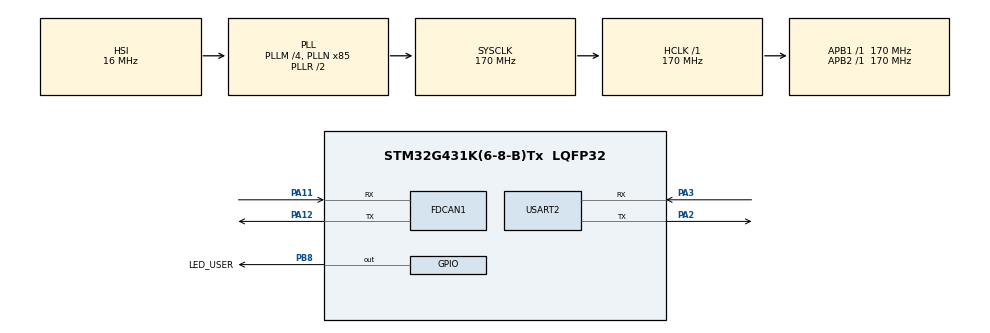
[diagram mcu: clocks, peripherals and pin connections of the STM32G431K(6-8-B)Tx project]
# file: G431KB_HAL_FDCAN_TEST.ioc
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FDCAN1.AutoRetransmission=ENABLE
FDCAN1.CalculateBaudRateNominal=250000
FDCAN1.CalculateTimeBitNominal=4000
FDCAN1.CalculateTimeQuantumNominal=100.0
FDCAN1.FrameFormat=FDCAN_FRAME_CLASSIC
FDCAN1.NominalPrescaler=17
FDCAN1.NominalSyncJumpWidth=5
FDCAN1.NominalTimeSeg1=34
FDCAN1.NominalTimeSeg2=5
Mcu.Family=STM32G4
Mcu.Name=STM32G431K(6-8-B)Tx
Mcu.Package=LQFP32
NVIC.PriorityGroup=NVIC_PRIORITYGROUP_4
PA11.Mode=FDCAN_Activate
PA11.Signal=FDCAN1_RX
PA12.Mode=FDCAN_Activate
PA12.Signal=FDCAN1_TX
PA2.Mode=Asynchronous
PA2.Signal=USART2_TX
PA3.Mode=Asynchronous
PA3.Signal=USART2_RX
PB8-BOOT0.GPIO_Label=LED_USER
PB8-BOOT0.Signal=GPIO_Output
ProjectManager.HeapSize=0x200
ProjectManager.StackSize=0x400
ProjectManager.TargetToolchain=STM32CubeIDE
RCC.ADC12Freq_Value=170000000
RCC.AHBFreq_Value=170000000
RCC.APB1Freq_Value=170000000
RCC.APB1TimFreq_Value=170000000
RCC.APB2Freq_Value=170000000
RCC.APB2TimFreq_Value=170000000
RCC.CortexFreq_Value=170000000
RCC.EXTERNAL_CLOCK_VALUE=12288000
RCC.HCLKFreq_Value=170000000
RCC.HSE_VALUE=8000000
RCC.HSI48_VALUE=48000000
RCC.HSI_VALUE=16000000
RCC.LSE_VALUE=32768
RCC.PLLM=RCC_PLLM_DIV4
RCC.PLLN=85
RCC.SYSCLKFreq_VALUE=170000000
RCC.SYSCLKSource=RCC_SYSCLKSOURCE_PLLCLK
RCC.USBFreq_Value=170000000
RCC.VCOOutputFreq_Value=340000000
USART2.VirtualMode-Asynchronous=VM_ASYNC
VP_SYS_VS_DBSignals.Mode=DisableDeadBatterySignals
board=NUCLEO-G431KB

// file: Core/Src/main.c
/* USER CODE BEGIN Header */
/**
  ******************************************************************************
  * @file           : main.c
  * @brief          : Main program body
  ******************************************************************************
  * @attention
  *
  * Copyright (c) 2026 STMicroelectronics.
  * All rights reserved.
  *
  * This software is licensed under terms that can be found in the LICENSE file
  * in the root directory of this software component.
  * If no LICENSE file comes with this software, it is provided AS-IS.
  *
  ******************************************************************************
  */
/* USER CODE END Header */
#include "main.h"

/* USER CODE BEGIN Includes */
#include <opencrank/j1939.h>
#include <opencrank/machine_ctrl.h>
/* USER CODE END Includes */

FDCAN_HandleTypeDef hfdcan1;

UART_HandleTypeDef huart2;

/* USER CODE BEGIN PV */
#define MC_PERIOD_MS 10U   /* TSC1 and pump command every 10 ms */
static McCtx mc;
static uint32_t tx_dropped;
/* USER CODE END PV */

void SystemClock_Config(void);
static void MX_GPIO_Init(void);
static void MX_FDCAN1_Init(void);
static void MX_USART2_UART_Init(void);

/* USER CODE BEGIN 0 */
static void can_poll_rx(uint32_t now_ms)
 {
     FDCAN_RxHeaderTypeDef rx;
     uint8_t d[8];

     /* Drain the FIFO: one frame per loop would lose frames at 100 frames/s+ */
     while (HAL_FDCAN_GetRxFifoFillLevel(&hfdcan1, FDCAN_RX_FIFO0) > 0U) {
         if (HAL_FDCAN_GetRxMessage(&hfdcan1, FDCAN_RX_FIFO0, &rx, d) != HAL_OK) {
             break;
         }
         if (rx.IdType != FDCAN_EXTENDED_ID) {
             continue;                       /* J1939 is 29-bit only */
         }
         /* G4: DataLength is the byte count. (On H7 it is shifted 16 bits.) */
         uint32_t len = rx.DataLength;
         if (len > 8U) {
             continue;
         }
         J1939Frame f;
         f.id  = rx.Identifier & 0x1FFFFFFFU;
         f.dlc = (uint8_t)len;
         for (uint32_t i = 0U; i < 8U; i++) {
             f.data[i] = (i < len) ? d[i] : 0xFFU;
         }
         mc_handle_frame(&mc, &f, now_ms);
     }
 }

 static void can_send(const J1939Frame *f)
 {
     if (HAL_FDCAN_GetTxFifoFreeLevel(&hfdcan1) == 0U) {
         tx_dropped++;                       /* count it; never block */
         return;
     }
     FDCAN_TxHeaderTypeDef tx = {0};
     tx.Identifier          = f->id;
     tx.IdType              = FDCAN_EXTENDED_ID;
     tx.TxFrameType         = FDCAN_DATA_FRAME;
     tx.DataLength          = f->dlc;        /* G4: plain byte count */
     tx.ErrorStateIndicator = FDCAN_ESI_ACTIVE;
     tx.BitRateSwitch       = FDCAN_BRS_OFF;
     tx.FDFormat            = FDCAN_CLASSIC_CAN;
     tx.TxEventFifoControl  = FDCAN_NO_TX_EVENTS;
     tx.MessageMarker       = 0U;
     uint8_t d[8];
     for (uint32_t i = 0U; i < 8U; i++) { d[i] = f->data[i]; }
     (void)HAL_FDCAN_AddMessageToTxFifoQ(&hfdcan1, &tx, d);
 }
/* USER CODE END 0 */

int main(void)
{

  /* MCU Configuration--------------------------------------------------------*/

  /* Reset of all peripherals, Initializes the Flash interface and the Systick. */
  HAL_Init();

  /* Configure the system clock */
  SystemClock_Config();

  /* Initialize all configured peripherals */
  MX_GPIO_Init();
  MX_FDCAN1_Init();
  MX_USART2_UART_Init();
  /* USER CODE BEGIN 2 */

  /* Accept every frame into RX FIFO 0: the controller decides what it needs. */
  if (HAL_FDCAN_ConfigGlobalFilter(&hfdcan1, FDCAN_ACCEPT_IN_RX_FIFO0, FDCAN_ACCEPT_IN_RX_FIFO0,
                                   FDCAN_FILTER_REMOTE, FDCAN_FILTER_REMOTE) != HAL_OK)
  {
    Error_Handler();
  }

  if (HAL_FDCAN_Start(&hfdcan1) != HAL_OK)
  {
    Error_Handler();
  }

  mc_init(&mc, &MC_DEFAULT_PARAMS);
  uint32_t next = HAL_GetTick() + MC_PERIOD_MS;

  /* USER CODE END 2 */

  /* Infinite loop */
  /* USER CODE BEGIN WHILE */
  while (1)
  {
    const uint32_t now = HAL_GetTick();

    can_poll_rx(now);

    /* Wrap-safe: true once `now` has reached `next`. */
    if ((int32_t)(now - next) >= 0)
    {
      next += MC_PERIOD_MS;

      J1939Frame out[4];
      const size_t n = mc_step(&mc, now, out, sizeof(out) / sizeof(out[0]));
      for (size_t k = 0U; k < n; k++)
      {
        can_send(&out[k]);
      }
    }
    /* USER CODE END WHILE */

  }
}

void SystemClock_Config(void)
{
  RCC_OscInitTypeDef RCC_OscInitStruct = {0};
  RCC_ClkInitTypeDef RCC_ClkInitStruct = {0};

  /** Configure the main internal regulator output voltage
  */
  HAL_PWREx_ControlVoltageScaling(PWR_REGULATOR_VOLTAGE_SCALE1_BOOST);

  /** Initializes the RCC Oscillators according to the specified parameters
  * in the RCC_OscInitTypeDef structure.
  */
  RCC_OscInitStruct.OscillatorType = RCC_OSCILLATORTYPE_HSI;
  RCC_OscInitStruct.HSIState = RCC_HSI_ON;
  RCC_OscInitStruct.HSICalibrationValue = RCC_HSICALIBRATION_DEFAULT;
  RCC_OscInitStruct.PLL.PLLState = RCC_PLL_ON;
  RCC_OscInitStruct.PLL.PLLSource = RCC_PLLSOURCE_HSI;
  RCC_OscInitStruct.PLL.PLLM = RCC_PLLM_DIV4;
  RCC_OscInitStruct.PLL.PLLN = 85;
  RCC_OscInitStruct.PLL.PLLP = RCC_PLLP_DIV2;
  RCC_OscInitStruct.PLL.PLLQ = RCC_PLLQ_DIV2;
  RCC_OscInitStruct.PLL.PLLR = RCC_PLLR_DIV2;
  if (HAL_RCC_OscConfig(&RCC_OscInitStruct) != HAL_OK)
  {
    Error_Handler();
  }

  /** Initializes the CPU, AHB and APB buses clocks
  */
  RCC_ClkInitStruct.ClockType = RCC_CLOCKTYPE_HCLK|RCC_CLOCKTYPE_SYSCLK
                              |RCC_CLOCKTYPE_PCLK1|RCC_CLOCKTYPE_PCLK2;
  RCC_ClkInitStruct.SYSCLKSource = RCC_SYSCLKSOURCE_PLLCLK;
  RCC_ClkInitStruct.AHBCLKDivider = RCC_SYSCLK_DIV1;
  RCC_ClkInitStruct.APB1CLKDivider = RCC_HCLK_DIV1;
  RCC_ClkInitStruct.APB2CLKDivider = RCC_HCLK_DIV1;

  if (HAL_RCC_ClockConfig(&RCC_ClkInitStruct, FLASH_LATENCY_4) != HAL_OK)
  {
    Error_Handler();
  }
}

static void MX_FDCAN1_Init(void)
{

  hfdcan1.Instance = FDCAN1;
  hfdcan1.Init.ClockDivider = FDCAN_CLOCK_DIV1;
  hfdcan1.Init.FrameFormat = FDCAN_FRAME_CLASSIC;
  hfdcan1.Init.Mode = FDCAN_MODE_NORMAL;
  hfdcan1.Init.AutoRetransmission = ENABLE;
  hfdcan1.Init.TransmitPause = DISABLE;
  hfdcan1.Init.ProtocolException = DISABLE;
  hfdcan1.Init.NominalPrescaler = 17;
  hfdcan1.Init.NominalSyncJumpWidth = 5;
  hfdcan1.Init.NominalTimeSeg1 = 34;
  hfdcan1.Init.NominalTimeSeg2 = 5;
  hfdcan1.Init.DataPrescaler = 1;
  hfdcan1.Init.DataSyncJumpWidth = 1;
  hfdcan1.Init.DataTimeSeg1 = 1;
  hfdcan1.Init.DataTimeSeg2 = 1;
  hfdcan1.Init.StdFiltersNbr = 0;
  hfdcan1.Init.ExtFiltersNbr = 0;
  hfdcan1.Init.TxFifoQueueMode = FDCAN_TX_FIFO_OPERATION;
  if (HAL_FDCAN_Init(&hfdcan1) != HAL_OK)
  {
    Error_Handler();
  }

}

static void MX_USART2_UART_Init(void)
{

  huart2.Instance = USART2;
  huart2.Init.BaudRate = 115200;
  huart2.Init.WordLength = UART_WORDLENGTH_8B;
  huart2.Init.StopBits = UART_STOPBITS_1;
  huart2.Init.Parity = UART_PARITY_NONE;
  huart2.Init.Mode = UART_MODE_TX_RX;
  huart2.Init.HwFlowCtl = UART_HWCONTROL_NONE;
  huart2.Init.OverSampling = UART_OVERSAMPLING_16;
  huart2.Init.OneBitSampling = UART_ONE_BIT_SAMPLE_DISABLE;
  huart2.Init.ClockPrescaler = UART_PRESCALER_DIV1;
  huart2.AdvancedInit.AdvFeatureInit = UART_ADVFEATURE_NO_INIT;
  if (HAL_UART_Init(&huart2) != HAL_OK)
  {
    Error_Handler();
  }
  if (HAL_UARTEx_SetTxFifoThreshold(&huart2, UART_TXFIFO_THRESHOLD_1_8) != HAL_OK)
  {
    Error_Handler();
  }
  if (HAL_UARTEx_SetRxFifoThreshold(&huart2, UART_RXFIFO_THRESHOLD_1_8) != HAL_OK)
  {
    Error_Handler();
  }
  if (HAL_UARTEx_DisableFifoMode(&huart2) != HAL_OK)
  {
    Error_Handler();
  }

}

static void MX_GPIO_Init(void)
{
  GPIO_InitTypeDef GPIO_InitStruct = {0};

  /* GPIO Ports Clock Enable */
  __HAL_RCC_GPIOA_CLK_ENABLE();
  __HAL_RCC_GPIOB_CLK_ENABLE();

  /*Configure GPIO pin Output Level */
  HAL_GPIO_WritePin(LED_USER_GPIO_Port, LED_USER_Pin, GPIO_PIN_RESET);

  /*Configure GPIO pin : LED_USER_Pin */
  GPIO_InitStruct.Pin = LED_USER_Pin;
  GPIO_InitStruct.Mode = GPIO_MODE_OUTPUT_PP;
  GPIO_InitStruct.Pull = GPIO_NOPULL;
  GPIO_InitStruct.Speed = GPIO_SPEED_FREQ_LOW;
  HAL_GPIO_Init(LED_USER_GPIO_Port, &GPIO_InitStruct);

}

void Error_Handler(void)
{
  __disable_irq();
  while (1)
  {
  }
}
